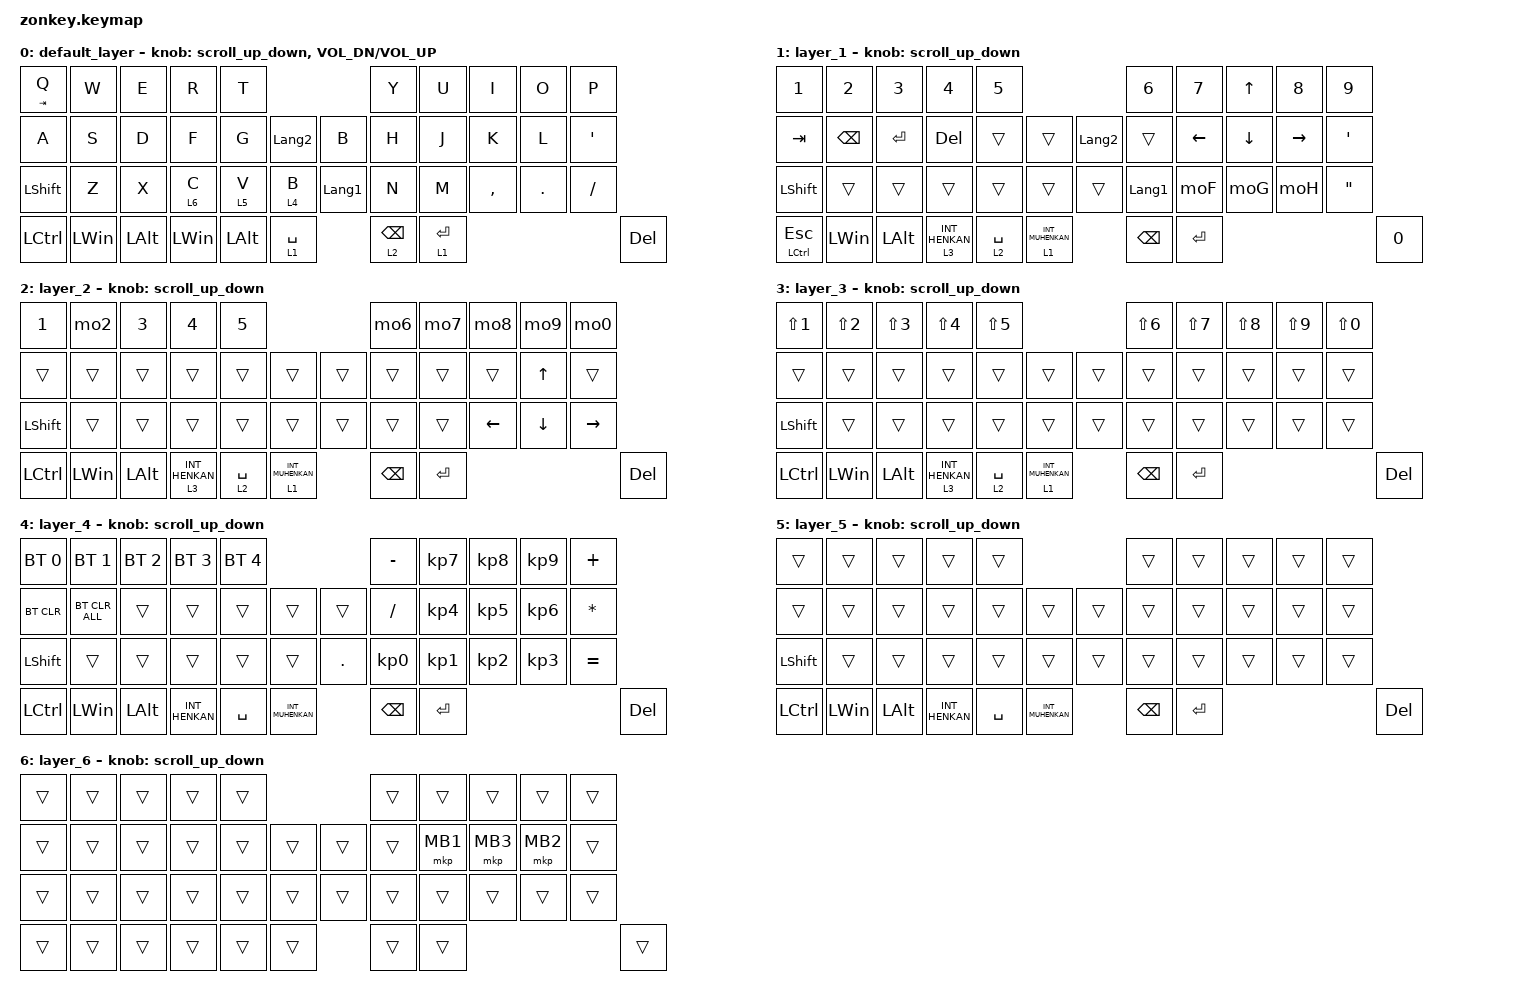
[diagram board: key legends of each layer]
#include <behaviors.dtsi>
#include <dt-bindings/zmk/bt.h>
#include <dt-bindings/zmk/keys.h>
#include <dt-bindings/zmk/pointing.h>

#define ZMK_POINTING_DEFAULT_SCRL_VAL 100
#define MOUSE 6
#define JP_DQUOTE       AT                // "
#define JP_AMPERSAND    CARET             // &
#define JP_QUOTE        AMPERSAND         // '
#define JP_EQUAL        UNDER             // =
#define JP_CARET        EQUAL             // ^
#define JP_YEN          0x89              // ¥
#define JP_PLUS         COLON             // +
#define JP_TILDE        PLUS              // ~
#define JP_PIPE         LS(0x89)          // |
#define JP_AT           LEFT_BRACKET      // @
#define JP_COLON        SINGLE_QUOTE      // :
#define JP_ASTERISK     DOUBLE_QUOTES     // *
#define JP_BACKQUOTE    LEFT_BRACE        // `
#define JP_UNDERSCORE   LS(0x87)          // _
#define JP_LBRACKET     RIGHT_BRACKET     // [
#define JP_RBRACKET     BACKSLASH         // ]
#define JP_LPAREN       ASTERISK          // (
#define JP_RPAREN       LEFT_PARENTHESIS  // )
#define JP_LBRACE       RIGHT_BRACE       // {
#define JP_RBRACE       PIPE              // }
#define JP_KANA         LANGUAGE_1        // かな
#define JP_EISU         LANGUAGE_2        // 英数
#define JP_HANZEN       GRAVE             // 半角/全角
#define JP_BSLH  INT1         // (backslash)

&mt {
    flavor = "balanced";
    quick-tap-ms = <0>;
};

/ {
    combos { compatible = "zmk,combos"; };

    mo2: mo2 {
        compatible = "zmk,behavior-mod-morph";
        #binding-cells = <0>;
        bindings = <&kp N2>, <&kp AT>;

        mods = <(MOD_LSFT|MOD_RSFT)>;
    };

    mo6: mo6 {
        compatible = "zmk,behavior-mod-morph";
        #binding-cells = <0>;
        bindings = <&kp N6>, <&kp CARET>;

        mods = <(MOD_LSFT|MOD_RSFT)>;
    };

    mo7: mo7 {
        compatible = "zmk,behavior-mod-morph";
        #binding-cells = <0>;
        bindings = <&kp N7>, <&kp AMPS>;

        mods = <(MOD_LSFT|MOD_RSFT)>;
    };

    mo8: mo8 {
        compatible = "zmk,behavior-mod-morph";
        #binding-cells = <0>;
        bindings = <&kp N8>, <&kp ASTRK>;

        mods = <(MOD_LSFT|MOD_RSFT)>;
    };

    mo9: mo9 {
        compatible = "zmk,behavior-mod-morph";
        #binding-cells = <0>;
        bindings = <&kp N9>, <&kp LPAR>;

        mods = <(MOD_LSFT|MOD_RSFT)>;
    };

    mo0: mo0 {
        compatible = "zmk,behavior-mod-morph";
        #binding-cells = <0>;
        bindings = <&kp N0>, <&kp LS(N9)>;

        mods = <(MOD_LSFT|MOD_RSFT)>;
    };

    moA: moA {
        compatible = "zmk,behavior-mod-morph";
        #binding-cells = <0>;
        bindings = <&kp MINUS>, <&kp UNDERSCORE>;

        mods = <(MOD_LSFT|MOD_RSFT)>;
    };

    moB: moB {
        compatible = "zmk,behavior-mod-morph";
        #binding-cells = <0>;
        bindings = <&kp EQUAL>, <&kp PLUS>;

        mods = <(MOD_LSFT|MOD_RSFT)>;
    };

    moC: moC {
        compatible = "zmk,behavior-mod-morph";
        #binding-cells = <0>;
        bindings = <&kp INT3>, <&kp JP_PIPE>;

        mods = <(MOD_LSFT|MOD_RSFT)>;
    };

    moD: moD {
        compatible = "zmk,behavior-mod-morph";
        #binding-cells = <0>;
        bindings = <&kp LBKT>, <&kp LBRC>;

        mods = <(MOD_LSFT|MOD_RSFT)>;
    };

    moE: moE {
        compatible = "zmk,behavior-mod-morph";
        #binding-cells = <0>;
        bindings = <&kp RBKT>, <&kp RBRC>;

        mods = <(MOD_LSFT|MOD_RSFT)>;
    };

    moF: moF {
        compatible = "zmk,behavior-mod-morph";
        #binding-cells = <0>;
        bindings = <&kp SEMI>, <&kp KP_PLUS>;

        mods = <(MOD_LSFT|MOD_RSFT)>;
    };

    moG: moG {
        compatible = "zmk,behavior-mod-morph";
        #binding-cells = <0>;
        bindings = <&kp APOSTROPHE>, <&kp DQT>;

        mods = <(MOD_LSFT|MOD_RSFT)>;
    };

    moH: moH {
        compatible = "zmk,behavior-mod-morph";
        #binding-cells = <0>;
        bindings = <&kp BACKSLASH>, <&kp TILDE2>;

        mods = <(MOD_LSFT|MOD_RSFT)>;
    };

    moI: moI {
        compatible = "zmk,behavior-mod-morph";
        #binding-cells = <0>;
        bindings = <&kp JP_BSLH>, <&kp JP_UNDERSCORE>;

        mods = <(MOD_LSFT|MOD_RSFT)>;
    };

    macros {
        to_layer_0: to_layer_0 {
            compatible = "zmk,behavior-macro-one-param";
            #binding-cells = <1>;
            bindings = <&to 0 &macro_param_1to1 &kp MACRO_PLACEHOLDER>;
            label = "TO_LAYER_0";
        };
    };

    behaviors {
        lt_repeat: lt_repeat {
            compatible = "zmk,behavior-hold-tap";
            label = "LAYER_TAP_REPEAT";
            bindings = <&mo>, <&kp>;

            #binding-cells = <2>;
            flavor = "hold-preferred";  // 長押しを少し強めに優先
            tapping-term-ms = <1000>;    // 長押し判定（好みに応じて200〜300で調整）
            quick-tap-ms = <900>;      // タップ+長押しでリピートさせる時間
        };

        scroll_up_down: behavior_sensor_rotate_mouse_wheel_up_down {
            compatible = "zmk,behavior-sensor-rotate";
            #sensor-binding-cells = <0>;
            bindings = <&msc SCRL_DOWN>, <&msc SCRL_UP>;

            tap-ms = <20>;
        };
    };

    keymap {
        compatible = "zmk,keymap";

        default_layer {
            // -----------------------------------------------------------------------------------------
            // |  Q  |  W  |  E  |  R  |  T  |                        |  Y  |  U   |  I  |  O  |  P  | 
            // |  A  |  S  |  D  |  F  |  G  |LS(LG(S))|        　 | - |  H  |  J   |  K  |  L  |  `  | 
            // |SHIFT|  Z  |  X  |  C  |  V  |  B  |           | B |  N  |  M   |  ,  |  .  |  /  | 
            // | CTRL | WIN | ALT |HENKAN|SPACE|MUHENKAN|       | BS | ENT |      　　　　       | DEL |           

            bindings = <
&mt TAB Q       &kp W         &kp E         &kp R         &kp T                                           &kp Y            &kp U        &kp I      &kp O    &kp P
&kp A           &kp S         &kp D         &kp F         &kp G         &kp LANGUAGE_2    &kp B           &kp H            &kp J        &kp K      &kp L    &kp SQT
&kp LEFT_SHIFT  &kp Z         &kp X         &lt 6 C       &lt 5 V       &lt 4 B           &kp LANGUAGE_1  &kp N            &kp M        &kp COMMA  &kp DOT  &kp SLASH
&kp LCTRL       &kp LEFT_WIN  &kp LEFT_ALT  &kp LEFT_WIN  &kp LEFT_ALT  &lt 1 SPACE                       &lt 2 BACKSPACE  &lt 1 ENTER                                 &kp DEL
            >;

            sensor-bindings =
                <&scroll_up_down>,
                <&inc_dec_kp C_VOL_DN C_VOL_UP>;
        };

        layer_1 {
            // -----------------------------------------------------------------------------------------
            // |CAPS　| 　　|     |     |                    　　　　　　 |     |     |  -  |  ^  |  ¥  |
            // | TAB |     |     |     |     |     |              |    |     |     |     |  @  |  [  |
            // |SHIFT|     |     |     |     |     |           　 | 英数 | かな |    |  ; |  :  |  ]  |
            // | CTRL| WIN | ALT |HENKAN|SPACE|MUHENKAN|         | BS | ENT |                   | DEL |

            bindings = <
&kp NUMBER_1    &kp NUMBER_2   &kp NUMBER_3  &kp NUMBER_4      &kp NUMBER_5                                     &kp NUMBER_6   &kp NUMBER_7    &kp UP_ARROW    &kp NUMBER_8  &kp NUMBER_9
&kp TAB         &kp BACKSPACE  &kp ENTER     &kp DEL           &trans        &trans                &kp JP_EISU  &trans         &kp LEFT_ARROW  &kp DOWN_ARROW  &kp RIGHT     &kp SINGLE_QUOTE
&kp LEFT_SHIFT  &trans         &trans        &trans            &trans        &trans                &trans       &kp JP_KANA    &moF            &moG            &moH          &kp DOUBLE_QUOTES
&mt LCTL ESC    &kp LEFT_WIN   &kp LEFT_ALT  &lt 3 INT_HENKAN  &lt 2 SPACE   &lt 1 INT_MUHENKAN                 &kp BACKSPACE  &kp ENTER                                                        &kp NUMBER_0
            >;

            sensor-bindings = <&scroll_up_down>;
        };

        layer_2 {
            // -----------------------------------------------------------------------------------------
            // |  1  |  2  |  3  |  4  |  5  |                     |  6  |  7  |  8  |  9  |   0  |
            // |      |     |     |     |     |     |           |    |     |     |     |  ↑  |      |
            // |SHIFT|     |     |     |     |     |           |     |     |     |  ←  |  ↓  |  →  |
            // | CTRL| WIN | ALT |HENKAN|SPACE|MUHENKAN|         | BS | ENT |                   | DEL |

            bindings = <
&kp N1          &mo2          &kp N3        &kp N4            &kp N5                                     &mo6           &mo7       &mo8            &mo9            &mo0
&trans          &trans        &trans        &trans            &trans       &trans                &trans  &trans         &trans     &trans          &kp UP_ARROW    &trans
&kp LEFT_SHIFT  &trans        &trans        &trans            &trans       &trans                &trans  &trans         &trans     &kp LEFT_ARROW  &kp DOWN_ARROW  &kp RIGHT_ARROW
&kp LCTRL       &kp LEFT_WIN  &kp LEFT_ALT  &lt 3 INT_HENKAN  &lt 2 SPACE  &lt 1 INT_MUHENKAN            &kp BACKSPACE  &kp ENTER                                                   &kp DEL
            >;

            sensor-bindings = <&scroll_up_down>;
        };

        layer_3 {
            // -----------------------------------------------------------------------------------------
            // | F1  | F2  | F3  | F4  | F5  |                     | F6  | F7 | F8  | F9 | F10 |
            // | F11 | F12 |     |     |     |     |           |    |     |     |     |     |      |
            // |SHIFT|     |     |     |     |     |           |     |     |     |     |     |      |
            // | CTRL| WIN | ALT |HENKAN|SPACE|MUHENKAN|         | BS | ENT |                   | DEL |

            bindings = <
&kp LS(NUMBER_1)  &kp LS(NUMBER_2)  &kp LS(NUMBER_3)  &kp LS(NUMBER_4)  &kp LS(NUMBER_5)                                &kp LS(NUMBER_6)  &kp LS(NUMBER_7)  &kp LS(NUMBER_8)  &kp LS(NUMBER_9)  &kp LS(NUMBER_0)
&trans            &trans            &trans            &trans            &trans            &trans                &trans  &trans            &trans            &trans            &trans            &trans
&kp LEFT_SHIFT    &trans            &trans            &trans            &trans            &trans                &trans  &trans            &trans            &trans            &trans            &trans
&kp LCTRL         &kp LEFT_WIN      &kp LEFT_ALT      &lt 3 INT_HENKAN  &lt 2 SPACE       &lt 1 INT_MUHENKAN            &kp BACKSPACE     &kp ENTER                                                               &kp DEL
            >;

            sensor-bindings = <&scroll_up_down>;
        };

        layer_4 {
            // -----------------------------------------------------------------------------------------
            // | BT0 | BT1 | BT2 | BT3 | BT4 |                        |  -  |  7  |  8  |  9  |  +  |
            // |BTCLR |     |     |     |     |     |                 |  /  |  4  |  5  |  6  |  *  | 
            // |SHIFT|     |     |     |     |     |           |  .  |  0  |  1  |  2  |   3  |  =  |
            // | CTRL| WIN | ALT |HENKAN|SPACE|MUHENKAN|        | BS | ENT |                  | DEL |

            bindings = <
&bt BT_SEL 0    &bt BT_SEL 1    &bt BT_SEL 2  &bt BT_SEL 3    &bt BT_SEL 4                               &kp MINUS        &kp KP_NUMBER_7  &kp KP_NUMBER_8  &kp KP_NUMBER_9  &kp PLUS
&bt BT_CLR      &bt BT_CLR_ALL  &trans        &trans          &trans        &trans              &trans   &kp SLASH        &kp KP_NUMBER_4  &kp KP_NUMBER_5  &kp KP_NUMBER_6  &kp ASTERISK
&kp LEFT_SHIFT  &trans          &trans        &trans          &trans        &trans              &kp DOT  &kp KP_NUMBER_0  &kp KP_NUMBER_1  &kp KP_NUMBER_2  &kp KP_NUMBER_3  &kp EQUAL
&kp LCTRL       &kp LEFT_WIN    &kp LEFT_ALT  &kp INT_HENKAN  &kp SPACE     &kp INT_MUHENKAN             &kp BACKSPACE    &kp ENTER                                                        &kp DEL
            >;

            sensor-bindings = <&scroll_up_down>;
        };

        layer_5 {
            // -----------------------------------------------------------------------------------------
            // |      |     |     |     |     |                     |     |     |     |     |      |
            // |      |     |     |     |     |     |           |    |     |     |     |     |      |
            // |SHIFT|     |     |     |     |     |          |     |     |     |     |     |      |
            // | CTRL| WIN | ALT |HENKAN|SPACE|MUHENKAN|        | BS | ENT |                  | DEL |

            bindings = <
&trans          &trans        &trans        &trans          &trans                                 &trans         &trans     &trans  &trans  &trans
&trans          &trans        &trans        &trans          &trans     &trans              &trans  &trans         &trans     &trans  &trans  &trans
&kp LEFT_SHIFT  &trans        &trans        &trans          &trans     &trans              &trans  &trans         &trans     &trans  &trans  &trans
&kp LCTRL       &kp LEFT_WIN  &kp LEFT_ALT  &kp INT_HENKAN  &kp SPACE  &kp INT_MUHENKAN            &kp BACKSPACE  &kp ENTER                          &kp DEL
            >;

            sensor-bindings = <&scroll_up_down>;
        };

        layer_6 {
            bindings = <
&trans  &trans  &trans  &trans  &trans                    &trans  &trans    &trans    &trans    &trans
&trans  &trans  &trans  &trans  &trans  &trans    &trans  &trans  &mkp MB1  &mkp MB3  &mkp MB2  &trans
&trans  &trans  &trans  &trans  &trans  &trans    &trans  &trans  &trans    &trans    &trans    &trans
&trans  &trans  &trans  &trans  &trans  &trans            &trans  &trans                                &trans
            >;

            sensor-bindings = <&scroll_up_down>;
        };
    };
};
